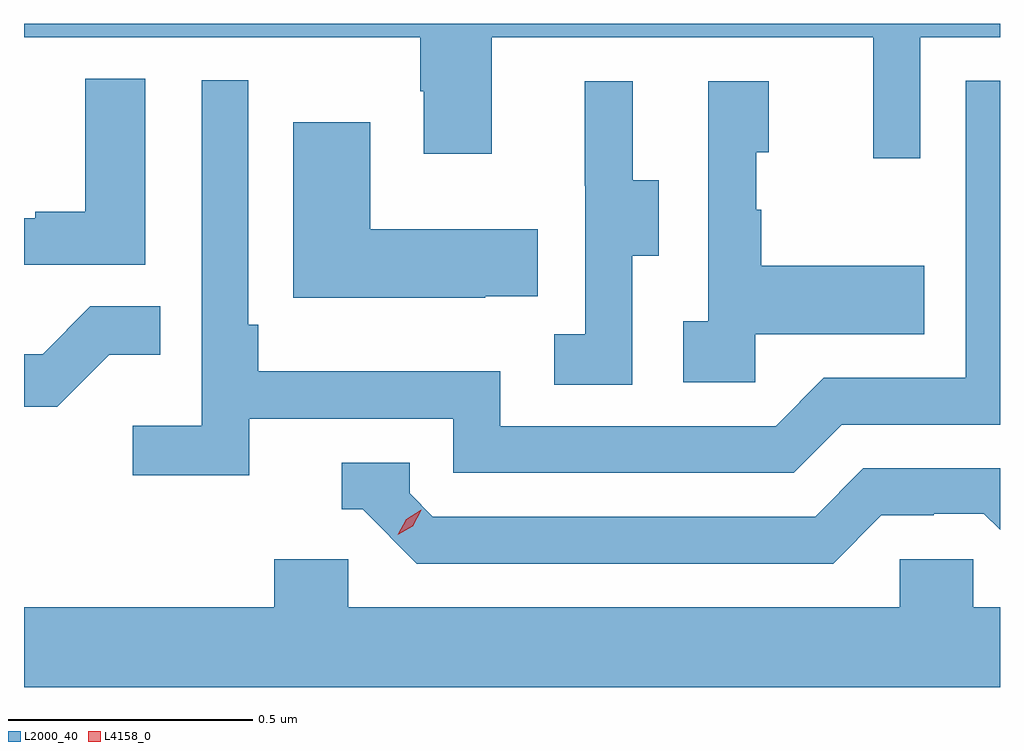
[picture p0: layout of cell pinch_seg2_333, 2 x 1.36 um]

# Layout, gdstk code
import gdstk
lib = gdstk.Library(unit=1e-6, precision=1e-09)
def P(c, l, *ps):  # polygons
    for p in ps: c.add(gdstk.Polygon(p, *l))
L2000_40 = (2000, 40)
L4158_0 = (4158, 0)

pinch_seg2_333 = lib.new_cell('pinch_seg2_333')
P(pinch_seg2_333, L2000_40, [(895.899,638.312),(896.062,638.312),(896.062,638.339),(894.062,638.339),(894.062,638.312),(894.874,638.312),(894.874,638.201),(894.881,638.201),(894.881,638.073),(895.021,638.073),(895.021,638.312),(895.802,638.312),(895.802,638.064),(895.899,638.064)],
  [(894.31,638.227),(894.188,638.227),(894.188,637.954),(894.085,637.954),(894.085,637.941),(894.062,637.941),(894.062,637.845),(894.31,637.845)],
  [(894.524,637.53),(894.942,637.53),(894.942,637.419),(895.639,637.419),(895.738,637.518),(896.062,637.518),(896.062,638.223),(895.992,638.223),(895.992,637.614),(895.701,637.614),(895.602,637.515),(895.038,637.515),(895.038,637.627),(894.542,637.627),(894.542,637.723),(894.522,637.723),(894.522,638.224),(894.426,638.224),(894.426,637.516),(894.285,637.516),(894.285,637.414),(894.524,637.414)],
  [(895.308,637.864),(895.363,637.864),(895.363,638.019),(895.309,638.019),(895.309,638.221),(895.211,638.221),(895.211,638.007),(895.212,638.007),(895.212,637.703),(895.149,637.703),(895.149,637.6),(895.308,637.6)],
  [(895.56,637.703),(895.907,637.703),(895.907,637.843),(895.573,637.843),(895.573,637.958),(895.563,637.958),(895.563,638.076),(895.588,638.076),(895.588,638.221),(895.464,638.221),(895.464,637.73),(895.413,637.73),(895.413,637.605),(895.56,637.605)],
  [(895.007,637.781),(895.115,637.781),(895.115,637.918),(894.772,637.918),(894.772,638.137),(894.614,638.137),(894.614,637.778),(895.007,637.778)],
  [(894.237,637.661),(894.341,637.661),(894.341,637.76),(894.198,637.76),(894.1,637.662),(894.062,637.662),(894.062,637.554),(894.13,637.554)],
  [(895.819,637.332),(895.926,637.332),(895.926,637.335),(896.029,637.335),(896.062,637.302),(896.062,637.428),(895.782,637.428),(895.683,637.329),(894.9,637.329),(894.852,637.377),(894.852,637.44),(894.713,637.44),(894.713,637.344),(894.756,637.344),(894.867,637.233),(895.72,637.233)],
  [(896.062,637.144),(896.007,637.144),(896.007,637.242),(895.857,637.242),(895.857,637.144),(894.726,637.144),(894.726,637.242),(894.575,637.242),(894.575,637.144),(894.062,637.144),(894.062,636.98),(896.062,636.98)])
P(pinch_seg2_333, L4158_0, [(894.828,637.292),(894.828,637.292),(894.845,637.324),(894.876,637.343),(894.876,637.343),(894.876,637.342),(894.859,637.31),(894.828,637.292)])

lib.write_gds('pinch_seg2_333.gds')
